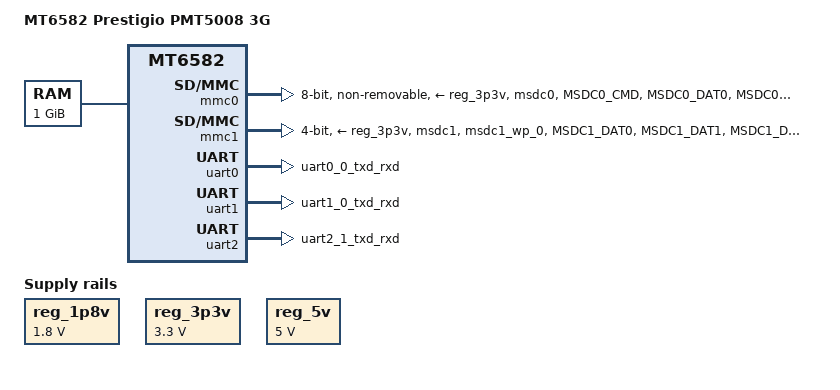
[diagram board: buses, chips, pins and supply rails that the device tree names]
/*
 * Copyright (C) 2018 MediaTek Inc.
 * Author: Ryder Lee <ryder.lee@mediatek.com>
 *
 * SPDX-License-Identifier: (GPL-2.0 OR MIT)
 */

/dts-v1/;
#include "mt6582.dtsi"
#include "mt6582-u-boot.dtsi"

/ {
	model = "MT6582 Prestigio PMT5008 3G";
	compatible = "test,mt6582", "mediatek,mt6582";

	memory@80000000 {
		device_type = "memory";
		reg = <0 0x80000000 0 0x40000000>;
	};

	chosen {
		stdout-path = &uart0;
		tick-timer = &timer0;
	};

	reg_1p8v: regulator-1p8v {
		compatible = "regulator-fixed";
		regulator-name = "fixed-1.8V";
		regulator-min-microvolt = <1800000>;
		regulator-max-microvolt = <1800000>;
		regulator-boot-on;
		regulator-always-on;
	};

	reg_3p3v: regulator-3p3v {
		compatible = "regulator-fixed";
		regulator-name = "fixed-3.3V";
		regulator-min-microvolt = <3300000>;
		regulator-max-microvolt = <3300000>;
		regulator-boot-on;
		regulator-always-on;
	};

	reg_5v: regulator-5v {
		compatible = "regulator-fixed";
		regulator-name = "fixed-5V";
		regulator-min-microvolt = <5000000>;
		regulator-max-microvolt = <5000000>;
		regulator-boot-on;
		regulator-always-on;
	};
};

&mmc0 {
	pinctrl-names = "default";
	pinctrl-0 = <&mmc0_pins_default>;
	status = "okay";
	bus-width = <8>;
	max-frequency = <50000000>;
	cap-mmc-highspeed;
	vmmc-supply = <&reg_3p3v>;
	vqmmc-supply = <&reg_1p8v>;
	non-removable;
};

&mmc1 {
	pinctrl-names = "default";
	pinctrl-0 = <&mmc1_pins_default>;
	status = "okay";
	bus-width = <4>;
	max-frequency = <50000000>;
	cap-sd-highspeed;
	r_smpl = <1>;
	vmmc-supply = <&reg_3p3v>;
	vqmmc-supply = <&reg_3p3v>;
};

&pinctrl {

	mmc0_pins_default: mmc0default {
		mux {
			function = "msdc";
			groups =  "msdc0";
		};

		conf-cmd-data {
			pins = "MSDC0_CMD", "MSDC0_DAT0", "MSDC0_DAT1",
			       "MSDC0_DAT2", "MSDC0_DAT3", "MSDC0_DAT4",
			       "MSDC0_DAT5", "MSDC0_DAT6", "MSDC0_DAT7";
			input-enable;
			bias-pull-up;
		};

		conf-clk {
			pins = "MSDC0_CLK";
			bias-pull-down;
		};

		conf-rst {
			pins = "MSDC0_RSTB";
			bias-pull-up;
		};
	};
	
	mmc1_pins_default: mmc1default {
		mux {
			function = "msdc";
			groups =  "msdc1", "msdc1_wp_0";
		};

		conf-cmd-data {
			pins = "MSDC1_DAT0", "MSDC1_DAT1", "MSDC1_DAT2",
			       "MSDC1_DAT3", "MSDC1_DAT3", "MSDC1_CMD";
			input-enable;
			drive-strength = <4>;
			bias-pull-up;
		};

		conf-clk {
			pins = "MSDC1_CLK";
			drive-strength = <4>;
		};

		conf-wp {
			pins = "EINT7";
			input-enable;
			bias-pull-up;
		};
	};

	uart0_pins_a: uart0-default {
		mux {
			function = "uart";
			groups =  "uart0_0_txd_rxd";
		};
	};

	uart1_pins_a: uart1-default {
		mux {
			function = "uart";
			groups =  "uart1_0_txd_rxd";
		};
	};

	uart2_pins_a: uart2-default {
		mux {
			function = "uart";
			groups =  "uart2_0_txd_rxd";
		};
	};

	uart2_pins_b: uart2-alt {
		mux {
			function = "uart";
			groups =  "uart2_1_txd_rxd";
		};
	};
};


&uart0 {
	pinctrl-names = "default";
	pinctrl-0 = <&uart0_pins_a>;
	status = "okay";
};

&uart1 {
	pinctrl-names = "default";
	pinctrl-0 = <&uart1_pins_a>;
	status = "okay";
};

&uart2 {
	pinctrl-names = "default";
	pinctrl-0 = <&uart2_pins_b>;
	status = "okay";
};
